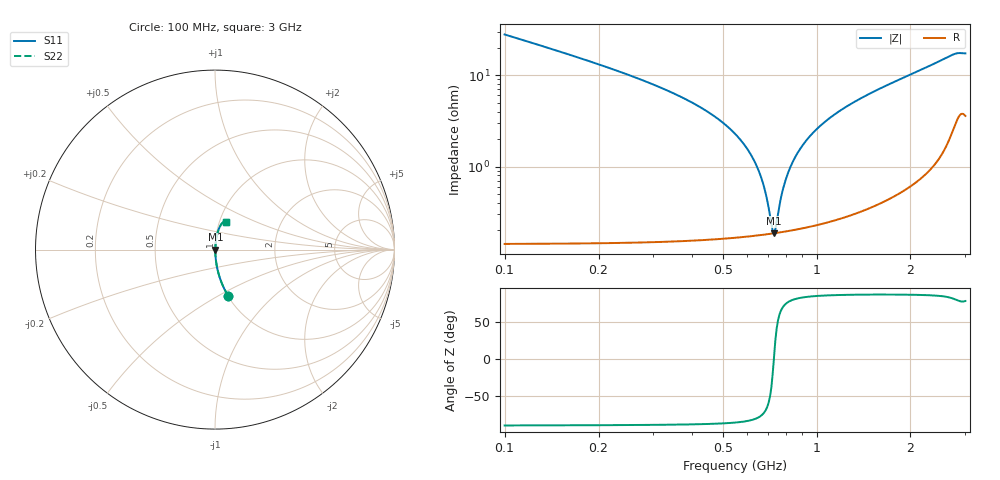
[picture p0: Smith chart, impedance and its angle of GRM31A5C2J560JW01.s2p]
!Murata Part Number: GRM31A5C2J560JW01
!These Parameters are Measured in Series Mode Connection
!Data Generated on Mar 30, 2021
!  o--ll--o
!Port1  Port2
!  o------o
!Operation Temp=25[degC], DC Bias Voltage=0[V]
!Freq. Start=100[MHz] Stop=3[GHz] 401[Steps]
# Hz S RI R 50
!Freq.(Hz) S11(Real) S11(Imag) S21(Real) S21(Imag) S12(Real) S12(Imag) S22(Real) S22(Imag)
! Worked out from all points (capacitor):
!   401 points, 100 MHz to 3 GHz, reference 50 ohm
!   read as one part in series: C = 56 pF near 114.5 MHz
!   lowest |Z| = 186 mohm at 730.8 MHz (marker M1)
!   series resonance near 729.6 MHz, so ESL is about 850 pH
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1e8  0.0733 -0.2581  0.9267 0.2581  0.9267 0.2581  0.0733 -0.2581
1.725e8  0.025 -0.1515  0.975 0.1515  0.975 0.1515  0.025 -0.1515
2.5225e8  0.0112 -0.0981  0.9888 0.0981  0.9888 0.0981  0.0112 -0.0981
4.77e8  0.00276 -0.0341  0.9972 0.0341  0.9972 0.0341  0.00276 -0.0341
5.8575e8  0.00199 -0.0173  0.998 0.0173  0.998 0.0173  0.00199 -0.0173
6.2925e8  0.00187 -0.0116  0.9981 0.0116  0.9981 0.0116  0.00187 -0.0116
6.5825e8  0.00183 -0.00808  0.9982 0.00808  0.9982 0.00808  0.00183 -0.00808
6.8725e8  0.00182 -0.00469  0.9982 0.00469  0.9982 0.00469  0.00182 -0.00469
7.1625e8  0.00184 -0.00145  0.9982 0.00145  0.9982 0.00145  0.00184 -0.00145
7.3075e8  0.00186 0.000119  0.9981 -0.000119  0.9981 -0.000119  0.00186 0.000119
7.4525e8  0.00188 0.00166  0.9981 -0.00166  0.9981 -0.00166  0.00188 0.00166
7.67e8  0.00192 0.00392  0.9981 -0.00392  0.9981 -0.00392  0.00192 0.00392
7.8875e8  0.00197 0.00613  0.998 -0.00613  0.998 -0.00613  0.00197 0.00613
8.4675e8  0.00215 0.0118  0.9978 -0.0118  0.9978 -0.0118  0.00215 0.0118
9.41e8  0.00258 0.0203  0.9974 -0.0203  0.9974 -0.0203  0.00258 0.0203
1.0715e9  0.00339 0.0312  0.9966 -0.0312  0.9966 -0.0312  0.00339 0.0312
1.2745e9  0.00509 0.0469  0.9949 -0.0469  0.9949 -0.0469  0.00509 0.0469
1.55e9  0.00826 0.067  0.9917 -0.067  0.9917 -0.067  0.00826 0.067
2.03575e9  0.0168 0.1019  0.9832 -0.1019  0.9832 -0.1019  0.0168 0.1019
2.5215e9  0.0335 0.1393  0.9665 -0.1393  0.9665 -0.1393  0.0335 0.1393
2.7825e9  0.0536 0.1556  0.9464 -0.1556  0.9464 -0.1556  0.0536 0.1556
3e9  0.0597 0.1539  0.9403 -0.1539  0.9403 -0.1539  0.0597 0.1539
